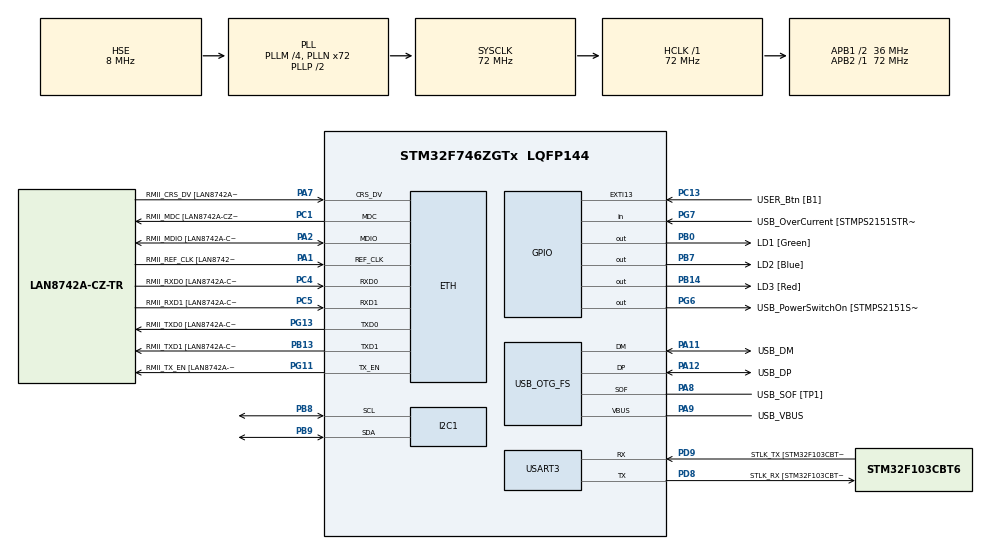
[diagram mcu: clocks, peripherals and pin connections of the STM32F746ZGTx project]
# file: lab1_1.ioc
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ETH.MediaInterface=HAL_ETH_RMII_MODE
ETH.PHY_Name=LAN8742A_PHY_ADDRESS
ETH.PHY_Value=0
ETH.PhyAddress=0
I2C1.Timing=0x00808CD2
Mcu.Family=STM32F7
Mcu.Name=STM32F746ZGTx
Mcu.Package=LQFP144
NVIC.PriorityGroup=NVIC_PRIORITYGROUP_4
PA1.GPIO_Label=RMII_REF_CLK [LAN8742A-CZ-TR_REFCLK0]
PA1.Mode=RMII
PA1.Signal=ETH_REF_CLK
PA10.GPIO_Label=USB_ID
PA10.Signal=USB_OTG_FS_ID
PA11.GPIO_Label=USB_DM
PA11.Mode=Device_Only
PA11.Signal=USB_OTG_FS_DM
PA12.GPIO_Label=USB_DP
PA12.Mode=Device_Only
PA12.Signal=USB_OTG_FS_DP
PA13.GPIO_Label=TMS
PA13.Mode=Serial_Wire
PA13.Signal=SYS_JTMS-SWDIO
PA14.GPIO_Label=TCK
PA14.Mode=Serial_Wire
PA14.Signal=SYS_JTCK-SWCLK
PA2.GPIO_Label=RMII_MDIO [LAN8742A-CZ-TR_MDIO]
PA2.Mode=RMII
PA2.Signal=ETH_MDIO
PA7.GPIO_Label=RMII_CRS_DV [LAN8742A-CZ-TR_CRS_DV]
PA7.Mode=RMII
PA7.Signal=ETH_CRS_DV
PA8.GPIO_Label=USB_SOF [TP1]
PA8.Mode=Activate_SOF_FS
PA8.Signal=USB_OTG_FS_SOF
PA9.GPIO_Label=USB_VBUS
PA9.Mode=Activate_VBUS
PA9.Signal=USB_OTG_FS_VBUS
PB0.GPIO_Label=LD1 [Green]
PB0.Signal=GPIO_Output
PB13.GPIO_Label=RMII_TXD1 [LAN8742A-CZ-TR_TXD1]
PB13.Mode=RMII
PB13.Signal=ETH_TXD1
PB14.GPIO_Label=LD3 [Red]
PB14.Signal=GPIO_Output
PB3.GPIO_Label=SW0
PB3.Signal=SYS_JTDO-SWO
PB7.GPIO_Label=LD2 [Blue]
PB7.Signal=GPIO_Output
PB8.Mode=I2C
PB8.Signal=I2C1_SCL
PB9.Mode=I2C
PB9.Signal=I2C1_SDA
PC1.GPIO_Label=RMII_MDC [LAN8742A-CZ-TR_MDC]
PC1.Mode=RMII
PC1.Signal=ETH_MDC
PC13.GPIO_Label=USER_Btn [B1]
PC13.Signal=GPXTI13
PC14/OSC32_IN.Mode=LSE-External-Oscillator
PC14/OSC32_IN.Signal=RCC_OSC32_IN
PC15/OSC32_OUT.Mode=LSE-External-Oscillator
PC15/OSC32_OUT.Signal=RCC_OSC32_OUT
PC4.GPIO_Label=RMII_RXD0 [LAN8742A-CZ-TR_RXD0]
PC4.Mode=RMII
PC4.Signal=ETH_RXD0
PC5.GPIO_Label=RMII_RXD1 [LAN8742A-CZ-TR_RXD1]
PC5.Mode=RMII
PC5.Signal=ETH_RXD1
PD8.GPIO_Label=STLK_RX [STM32F103CBT6_PA3]
PD8.GPIO_PuPd=GPIO_PULLUP
PD8.Mode=Asynchronous
PD8.Signal=USART3_TX
PD9.GPIO_Label=STLK_TX [STM32F103CBT6_PA2]
PD9.GPIO_PuPd=GPIO_PULLUP
PD9.Mode=Asynchronous
PD9.Signal=USART3_RX
PG11.GPIO_Label=RMII_TX_EN [LAN8742A-CZ-TR_TXEN]
PG11.Mode=RMII
PG11.Signal=ETH_TX_EN
PG13.GPIO_Label=RMII_TXD0 [LAN8742A-CZ-TR_TXD0]
PG13.Mode=RMII
PG13.Signal=ETH_TXD0
PG6.GPIO_Label=USB_PowerSwitchOn [STMPS2151STR_EN]
PG6.Signal=GPIO_Output
PG7.GPIO_Label=USB_OverCurrent [STMPS2151STR_FAULT]
PG7.Signal=GPIO_Input
PH0/OSC_IN.GPIO_Label=MCO [STM32F103CBT6_PA8]
PH0/OSC_IN.Mode=HSE-External-Clock-Source
PH0/OSC_IN.Signal=RCC_OSC_IN
PH1/OSC_OUT.Mode=HSE-External-Clock-Source
PH1/OSC_OUT.Signal=RCC_OSC_OUT
ProjectManager.HeapSize=0x200
ProjectManager.StackSize=0x400
ProjectManager.TargetToolchain=STM32CubeIDE
RCC.48MHZClocksFreq_Value=24000000
RCC.AHBFreq_Value=72000000
RCC.APB1CLKDivider=RCC_HCLK_DIV2
RCC.APB1Freq_Value=36000000
RCC.APB1TimFreq_Value=72000000
RCC.APB2Freq_Value=72000000
RCC.APB2TimFreq_Value=72000000
RCC.CortexFreq_Value=72000000
RCC.HCLKFreq_Value=72000000
RCC.HSE_VALUE=8000000
RCC.HSI_VALUE=16000000
RCC.PLLM=4
RCC.PLLMUL=RCC_PLL_MUL9
RCC.PLLN=72
RCC.PLLQ=3
RCC.PRESCALERUSB=RCC_USBCLKSOURCE_PLL_DIV1_5
RCC.SYSCLKFreq_VALUE=72000000
RCC.SYSCLKSource=RCC_SYSCLKSOURCE_PLLCLK
RCC.SYSCLKSourceVirtual=RCC_SYSCLKSOURCE_PLLCLK
RCC.USBFreq_Value=48000000
RCC.VCOOutputFreq_Value=144000000
USART3.VirtualMode-Asynchronous=VM_ASYNC
USB_OTG_FS.VirtualMode=Device_Only
board=NUCLEO-F746ZG

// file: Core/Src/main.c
/* USER CODE BEGIN Header */
/**
  ******************************************************************************
  * @file           : main.c
  * @brief          : Main program body
  ******************************************************************************
  * @attention
  *
  * Copyright (c) 2025 STMicroelectronics.
  * All rights reserved.
  *
  * This software is licensed under terms that can be found in the LICENSE file
  * in the root directory of this software component.
  * If no LICENSE file comes with this software, it is provided AS-IS.
  *
  ******************************************************************************
  */
/* USER CODE END Header */
#include "main.h"
#include "string.h"

#if defined ( __ICCARM__ ) /*!< IAR Compiler */
#pragma location=0x2004c000
ETH_DMADescTypeDef  DMARxDscrTab[ETH_RX_DESC_CNT]; /* Ethernet Rx DMA Descriptors */
#pragma location=0x2004c0a0
ETH_DMADescTypeDef  DMATxDscrTab[ETH_TX_DESC_CNT]; /* Ethernet Tx DMA Descriptors */

#elif defined ( __CC_ARM )  /* MDK ARM Compiler */

__attribute__((at(0x2004c000))) ETH_DMADescTypeDef  DMARxDscrTab[ETH_RX_DESC_CNT]; /* Ethernet Rx DMA Descriptors */
__attribute__((at(0x2004c0a0))) ETH_DMADescTypeDef  DMATxDscrTab[ETH_TX_DESC_CNT]; /* Ethernet Tx DMA Descriptors */

#elif defined ( __GNUC__ ) /* GNU Compiler */

ETH_DMADescTypeDef DMARxDscrTab[ETH_RX_DESC_CNT] __attribute__((section(".RxDecripSection"))); /* Ethernet Rx DMA Descriptors */
ETH_DMADescTypeDef DMATxDscrTab[ETH_TX_DESC_CNT] __attribute__((section(".TxDecripSection")));   /* Ethernet Tx DMA Descriptors */
#endif

ETH_TxPacketConfig TxConfig;

ETH_HandleTypeDef heth;

I2C_HandleTypeDef hi2c1;

UART_HandleTypeDef huart3;

PCD_HandleTypeDef hpcd_USB_OTG_FS;

void SystemClock_Config(void);
static void MX_GPIO_Init(void);
static void MX_ETH_Init(void);
static void MX_I2C1_Init(void);
static void MX_USART3_UART_Init(void);
static void MX_USB_OTG_FS_PCD_Init(void);

int main(void)
{

  /* MCU Configuration--------------------------------------------------------*/

  /* Reset of all peripherals, Initializes the Flash interface and the Systick. */
  HAL_Init();

  /* Configure the system clock */
  SystemClock_Config();

  /* Initialize all configured peripherals */
  MX_GPIO_Init();
  MX_ETH_Init();
  MX_I2C1_Init();
  MX_USART3_UART_Init();
  MX_USB_OTG_FS_PCD_Init();

  /* USER CODE BEGIN 2 */
  typedef struct{
	  GPIO_TypeDef* port;
	  uint16_t pin;
  }pin_t;

  const pin_t LDs[] =
  {
		  {LD1_GPIO_Port,LD1_Pin},
		  {LD2_GPIO_Port, LD2_Pin},
		  {LD3_GPIO_Port, LD3_Pin}
  };

  int i = 0;

  /* USER CODE END 2 */

  /* Infinite loop */
  /* USER CODE BEGIN WHILE */
  while (1)
  {

	HAL_GPIO_TogglePin(LDs[i].port, LDs[i].pin);
	HAL_Delay(100);
	HAL_GPIO_TogglePin(LDs[i].port, LDs[i].pin);
	i++;
	if(i > 2) i = 0;

    /* USER CODE END WHILE */

  }
}

void SystemClock_Config(void)
{
  RCC_OscInitTypeDef RCC_OscInitStruct = {0};
  RCC_ClkInitTypeDef RCC_ClkInitStruct = {0};

  /** Configure LSE Drive Capability
  */
  HAL_PWR_EnableBkUpAccess();

  /** Configure the main internal regulator output voltage
  */
  __HAL_RCC_PWR_CLK_ENABLE();
  __HAL_PWR_VOLTAGESCALING_CONFIG(PWR_REGULATOR_VOLTAGE_SCALE3);

  /** Initializes the RCC Oscillators according to the specified parameters
  * in the RCC_OscInitTypeDef structure.
  */
  RCC_OscInitStruct.OscillatorType = RCC_OSCILLATORTYPE_HSE;
  RCC_OscInitStruct.HSEState = RCC_HSE_BYPASS;
  RCC_OscInitStruct.PLL.PLLState = RCC_PLL_ON;
  RCC_OscInitStruct.PLL.PLLSource = RCC_PLLSOURCE_HSE;
  RCC_OscInitStruct.PLL.PLLM = 4;
  RCC_OscInitStruct.PLL.PLLN = 72;
  RCC_OscInitStruct.PLL.PLLP = RCC_PLLP_DIV2;
  RCC_OscInitStruct.PLL.PLLQ = 3;
  if (HAL_RCC_OscConfig(&RCC_OscInitStruct) != HAL_OK)
  {
    Error_Handler();
  }

  /** Initializes the CPU, AHB and APB buses clocks
  */
  RCC_ClkInitStruct.ClockType = RCC_CLOCKTYPE_HCLK|RCC_CLOCKTYPE_SYSCLK
                              |RCC_CLOCKTYPE_PCLK1|RCC_CLOCKTYPE_PCLK2;
  RCC_ClkInitStruct.SYSCLKSource = RCC_SYSCLKSOURCE_PLLCLK;
  RCC_ClkInitStruct.AHBCLKDivider = RCC_SYSCLK_DIV1;
  RCC_ClkInitStruct.APB1CLKDivider = RCC_HCLK_DIV2;
  RCC_ClkInitStruct.APB2CLKDivider = RCC_HCLK_DIV1;

  if (HAL_RCC_ClockConfig(&RCC_ClkInitStruct, FLASH_LATENCY_2) != HAL_OK)
  {
    Error_Handler();
  }
}

static void MX_ETH_Init(void)
{

   static uint8_t MACAddr[6];

  heth.Instance = ETH;
  MACAddr[0] = 0x00;
  MACAddr[1] = 0x80;
  MACAddr[2] = 0xE1;
  MACAddr[3] = 0x00;
  MACAddr[4] = 0x00;
  MACAddr[5] = 0x00;
  heth.Init.MACAddr = &MACAddr[0];
  heth.Init.MediaInterface = HAL_ETH_RMII_MODE;
  heth.Init.TxDesc = DMATxDscrTab;
  heth.Init.RxDesc = DMARxDscrTab;
  heth.Init.RxBuffLen = 1524;

  if (HAL_ETH_Init(&heth) != HAL_OK)
  {
    Error_Handler();
  }

  memset(&TxConfig, 0 , sizeof(ETH_TxPacketConfig));
  TxConfig.Attributes = ETH_TX_PACKETS_FEATURES_CSUM | ETH_TX_PACKETS_FEATURES_CRCPAD;
  TxConfig.ChecksumCtrl = ETH_CHECKSUM_IPHDR_PAYLOAD_INSERT_PHDR_CALC;
  TxConfig.CRCPadCtrl = ETH_CRC_PAD_INSERT;

}

static void MX_I2C1_Init(void)
{

  hi2c1.Instance = I2C1;
  hi2c1.Init.Timing = 0x00808CD2;
  hi2c1.Init.OwnAddress1 = 0;
  hi2c1.Init.AddressingMode = I2C_ADDRESSINGMODE_7BIT;
  hi2c1.Init.DualAddressMode = I2C_DUALADDRESS_DISABLE;
  hi2c1.Init.OwnAddress2 = 0;
  hi2c1.Init.OwnAddress2Masks = I2C_OA2_NOMASK;
  hi2c1.Init.GeneralCallMode = I2C_GENERALCALL_DISABLE;
  hi2c1.Init.NoStretchMode = I2C_NOSTRETCH_DISABLE;
  if (HAL_I2C_Init(&hi2c1) != HAL_OK)
  {
    Error_Handler();
  }

  /** Configure Analogue filter
  */
  if (HAL_I2CEx_ConfigAnalogFilter(&hi2c1, I2C_ANALOGFILTER_ENABLE) != HAL_OK)
  {
    Error_Handler();
  }

  /** Configure Digital filter
  */
  if (HAL_I2CEx_ConfigDigitalFilter(&hi2c1, 0) != HAL_OK)
  {
    Error_Handler();
  }

}

static void MX_USART3_UART_Init(void)
{

  huart3.Instance = USART3;
  huart3.Init.BaudRate = 115200;
  huart3.Init.WordLength = UART_WORDLENGTH_8B;
  huart3.Init.StopBits = UART_STOPBITS_1;
  huart3.Init.Parity = UART_PARITY_NONE;
  huart3.Init.Mode = UART_MODE_TX_RX;
  huart3.Init.HwFlowCtl = UART_HWCONTROL_NONE;
  huart3.Init.OverSampling = UART_OVERSAMPLING_16;
  huart3.Init.OneBitSampling = UART_ONE_BIT_SAMPLE_DISABLE;
  huart3.AdvancedInit.AdvFeatureInit = UART_ADVFEATURE_NO_INIT;
  if (HAL_UART_Init(&huart3) != HAL_OK)
  {
    Error_Handler();
  }

}

static void MX_USB_OTG_FS_PCD_Init(void)
{

  hpcd_USB_OTG_FS.Instance = USB_OTG_FS;
  hpcd_USB_OTG_FS.Init.dev_endpoints = 6;
  hpcd_USB_OTG_FS.Init.speed = PCD_SPEED_FULL;
  hpcd_USB_OTG_FS.Init.dma_enable = DISABLE;
  hpcd_USB_OTG_FS.Init.phy_itface = PCD_PHY_EMBEDDED;
  hpcd_USB_OTG_FS.Init.Sof_enable = ENABLE;
  hpcd_USB_OTG_FS.Init.low_power_enable = DISABLE;
  hpcd_USB_OTG_FS.Init.lpm_enable = DISABLE;
  hpcd_USB_OTG_FS.Init.vbus_sensing_enable = ENABLE;
  hpcd_USB_OTG_FS.Init.use_dedicated_ep1 = DISABLE;
  if (HAL_PCD_Init(&hpcd_USB_OTG_FS) != HAL_OK)
  {
    Error_Handler();
  }

}

static void MX_GPIO_Init(void)
{
  GPIO_InitTypeDef GPIO_InitStruct = {0};

  /* GPIO Ports Clock Enable */
  __HAL_RCC_GPIOC_CLK_ENABLE();
  __HAL_RCC_GPIOH_CLK_ENABLE();
  __HAL_RCC_GPIOA_CLK_ENABLE();
  __HAL_RCC_GPIOB_CLK_ENABLE();
  __HAL_RCC_GPIOD_CLK_ENABLE();
  __HAL_RCC_GPIOG_CLK_ENABLE();

  /*Configure GPIO pin Output Level */
  HAL_GPIO_WritePin(GPIOB, LD1_Pin|LD3_Pin|LD2_Pin, GPIO_PIN_RESET);

  /*Configure GPIO pin Output Level */
  HAL_GPIO_WritePin(USB_PowerSwitchOn_GPIO_Port, USB_PowerSwitchOn_Pin, GPIO_PIN_RESET);

  /*Configure GPIO pin : USER_Btn_Pin */
  GPIO_InitStruct.Pin = USER_Btn_Pin;
  GPIO_InitStruct.Mode = GPIO_MODE_IT_RISING;
  GPIO_InitStruct.Pull = GPIO_NOPULL;
  HAL_GPIO_Init(USER_Btn_GPIO_Port, &GPIO_InitStruct);

  /*Configure GPIO pins : LD1_Pin LD3_Pin LD2_Pin */
  GPIO_InitStruct.Pin = LD1_Pin|LD3_Pin|LD2_Pin;
  GPIO_InitStruct.Mode = GPIO_MODE_OUTPUT_PP;
  GPIO_InitStruct.Pull = GPIO_NOPULL;
  GPIO_InitStruct.Speed = GPIO_SPEED_FREQ_LOW;
  HAL_GPIO_Init(GPIOB, &GPIO_InitStruct);

  /*Configure GPIO pin : USB_PowerSwitchOn_Pin */
  GPIO_InitStruct.Pin = USB_PowerSwitchOn_Pin;
  GPIO_InitStruct.Mode = GPIO_MODE_OUTPUT_PP;
  GPIO_InitStruct.Pull = GPIO_NOPULL;
  GPIO_InitStruct.Speed = GPIO_SPEED_FREQ_LOW;
  HAL_GPIO_Init(USB_PowerSwitchOn_GPIO_Port, &GPIO_InitStruct);

  /*Configure GPIO pin : USB_OverCurrent_Pin */
  GPIO_InitStruct.Pin = USB_OverCurrent_Pin;
  GPIO_InitStruct.Mode = GPIO_MODE_INPUT;
  GPIO_InitStruct.Pull = GPIO_NOPULL;
  HAL_GPIO_Init(USB_OverCurrent_GPIO_Port, &GPIO_InitStruct);

}

void Error_Handler(void)
{
  __disable_irq();
  while (1)
  {
  }
}
